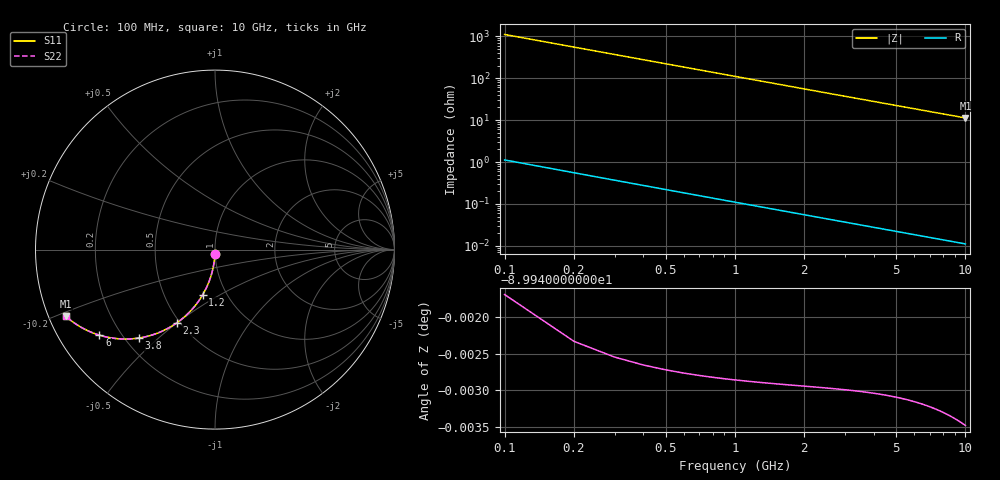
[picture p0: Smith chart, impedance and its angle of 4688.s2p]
# Hz S RI R 50.00
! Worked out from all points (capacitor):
!   100 points, 100 MHz to 10 GHz, reference 50 ohm
!   read as one part in shunt: C = 1.44 pF near 100 MHz
!   lowest |Z| = 11.3 ohm at 10 GHz (marker M1)
!   S11 on the Smith chart (normalised r, x): 100 MHz: 1.00, -0.05; 1.2 GHz: 0.77, -0.42; 2.3 GHz: 0.48, -0.50; 3.8 GHz: 0.26, -0.43; 6 GHz: 0.12, -0.33; 10 GHz: 0.05, -0.21
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1e8  -0.000533 -0.0226  0.9995 -0.0227  0.9995 -0.0227  -0.000533 -0.0226
2e8  -0.00209 -0.0452  0.9979 -0.0453  0.9979 -0.0453  -0.00209 -0.0452
3e8  -0.00467 -0.0676  0.9953 -0.0678  0.9953 -0.0678  -0.00467 -0.0676
4e8  -0.00824 -0.0898  0.9917 -0.09  0.9917 -0.09  -0.00824 -0.0898
5e8  -0.0128 -0.1117  0.9872 -0.112  0.9872 -0.112  -0.0128 -0.1117
6e8  -0.0183 -0.1333  0.9817 -0.1336  0.9817 -0.1336  -0.0183 -0.1333
7e8  -0.0247 -0.1545  0.9753 -0.1549  0.9753 -0.1549  -0.0247 -0.1545
9e8  -0.0401 -0.1954  0.9599 -0.1959  0.9599 -0.1959  -0.0401 -0.1954
1.2e9  -0.0689 -0.2525  0.9311 -0.2531  0.9311 -0.2531  -0.0689 -0.2525
1.5e9  -0.1034 -0.3036  0.8966 -0.3044  0.8966 -0.3044  -0.1034 -0.3036
1.8e9  -0.1422 -0.3483  0.8578 -0.3493  0.8578 -0.3493  -0.1422 -0.3483
2.3e9  -0.2124 -0.4079  0.7875 -0.4092  0.7875 -0.4092  -0.2124 -0.4079
2.8e9  -0.285 -0.4501  0.715 -0.4517  0.715 -0.4517  -0.285 -0.4501
3.4e9  -0.3694 -0.4812  0.6306 -0.4831  0.6306 -0.4831  -0.3694 -0.4812
3.8e9  -0.4221 -0.4923  0.5779 -0.4945  0.5779 -0.4945  -0.4221 -0.4923
4.4e9  -0.4941 -0.4982  0.5059 -0.5007  0.5059 -0.5007  -0.4941 -0.4982
5.1e9  -0.5668 -0.4936  0.4332 -0.4964  0.4332 -0.4964  -0.5668 -0.4936
6e9  -0.6436 -0.4767  0.3564 -0.4801  0.3564 -0.4801  -0.6436 -0.4767
6.7e9  -0.692 -0.4593  0.3079 -0.463  0.3079 -0.463  -0.692 -0.4593
7.5e9  -0.7376 -0.4373  0.2624 -0.4416  0.2624 -0.4416  -0.7376 -0.4373
8.4e9  -0.7788 -0.4122  0.2212 -0.417  0.2212 -0.417  -0.7788 -0.4122
1e10  -0.8327 -0.3699  0.1673 -0.3756  0.1673 -0.3756  -0.8327 -0.3699
